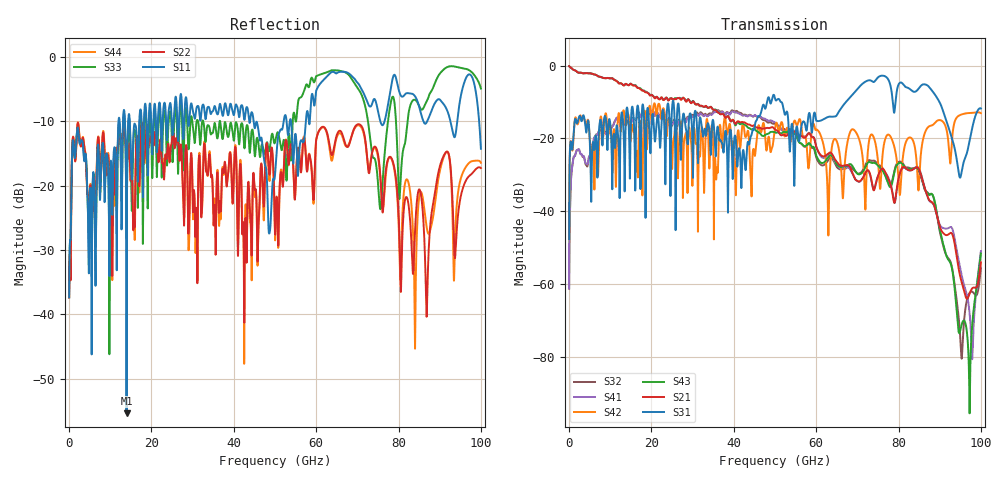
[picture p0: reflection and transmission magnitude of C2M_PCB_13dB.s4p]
! Info: Touchstone file created by Circ.  Input file=Intel_C2M_200G_2in_202204012_staggered.circ
# Hz S RI R 50
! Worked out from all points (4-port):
!   10000 points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, 10 MHz to 100 GHz, reference 50 ohm
!   strongest paths, dB at 10 MHz, 25.01 GHz, 50.01 GHz, 75.01 GHz, 100 GHz:
!     S31: -47.7, -11.6, -9.0, -3.2, -11.7
!     S21: -0.1, -9.0, -17.5, -30.3, -54.1
!     S43: -0.1, -9.1, -18.3, -27.5, -51.7
!     S42: -47.7, -28.4, -17.3, -26.3, -13.0
!     S41: -61.3, -16.2, -15.6, -30.4, -51.0
!     S32: -61.3, -16.5, -16.0, -27.1, -55.7
!   lowest |S11| = -55.4 dB at 13.95 GHz (marker M1), VSWR 1.00, Z = 49.8 - j0.0339 ohm
!   |S11| at or under -10 dB: start of sweep to 12 GHz; 44.82 GHz to 52.11 GHz (7.282 GHz wide, 15 % of centre); 53.9 GHz to 57.5 GHz (3.592 GHz wide, 6.45 % of centre) (the widest 3 of 23)
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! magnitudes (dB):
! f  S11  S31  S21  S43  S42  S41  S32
! 10 MHz  -37.3  -47.7  -0.1  -0.1  -47.7  -61.3  -61.3
! 1.5 GHz  -15.4  -14.6  -1.3  -1.3  -14.3  -24.6  -24.6
! 13.95 GHz  -55.4  -12.0  -5.0  -5.1  -14.4  -15.2  -15.2
! 84.56 GHz  -6.8  -6.7  -28.0  -28.2  -29.4  -27.8  -28.2
! 95.21 GHz  -5.8  -29.9  -59.0  -71.8  -13.4  -57.0  -79.3
! 97.19 GHz  -2.7  -21.0  -62.9  -89.8  -13.0  -67.3  -62.6
! 100 GHz  -14.3  -11.7  -54.1  -51.7  -13.0  -51.0  -55.7
